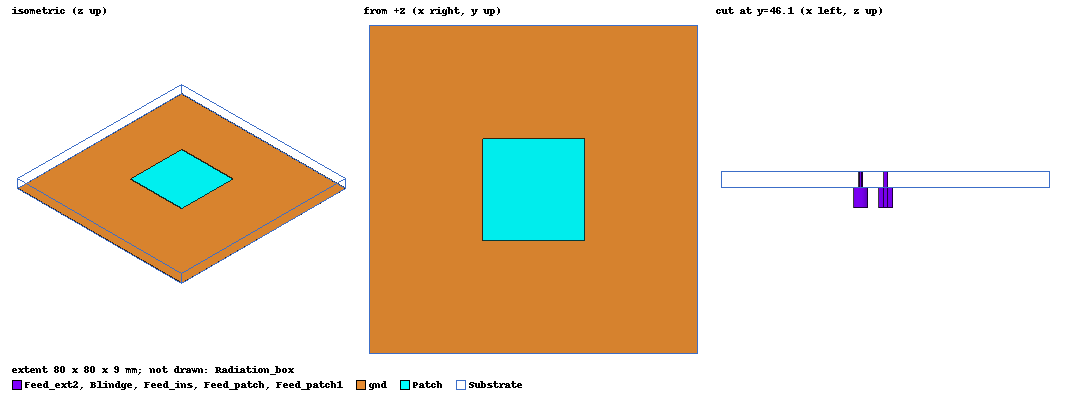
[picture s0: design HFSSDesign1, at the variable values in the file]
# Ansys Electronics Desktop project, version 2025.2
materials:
  vacuum: permittivity=1
  air: permittivity=1.0006 permeability=1.0000004
  perfect conductor: conductivity=1e+30
  copper: permeability=0.999991 conductivity=58000000
  FR4_epoxy: permittivity=4.4 dielectric_loss_tangent=0.02
  pec: conductivity=1e+30
  Teflon (tm): permittivity=2.1 dielectric_loss_tangent=0.001

design HFSSDesign1 (HFSS, HFSS Modal Network, model units mm)
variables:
  gnl = 80mm
  gnw = 80mm
  h = 4mm
  pl = 25mm
  pw = 25mm
  a = Patch_pos_x+pw/2
  r1 = 1.8mm
  r2 = 1.67mm
  r3 = 0.5mm
  dummy = a +offset
  offset = 6.1mm
  Patch_pos_x = gnw/2 - pw/2
  Patch_pos_y = gnl/2 - pl/2
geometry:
  gnd = rectangle(corner=(0mm, 0mm, 0mm), x_size=gnl, y_size=gnw)
  Substrate [air] = box(corner=(0mm, 0mm, 0mm), size=(gnl, gnw, h))
  Patch = rectangle(corner=(Patch_pos_x, Patch_pos_y, h), x_size=pl, y_size=pw)
  Gnd_cut = circle(normal=Z, centre=(a, dummy, 0mm), radius=r1)
  Blindge [Teflon (tm)] = cylinder(axis=Z, base_centre=(a, dummy, 0mm), radius=r2, height=-5mm)
  Feed_ext1 [pec] = cylinder(axis=Z, base_centre=(a, dummy, 0mm), radius=r1, height=-5mm)
  Feed_ins [pec] = cylinder(axis=Z, base_centre=(a, dummy, 0mm), radius=r3, height=-5mm)
  Feed_patch [pec] = cylinder(axis=Z, base_centre=(a, dummy, 0mm), radius=r3, height=h)
  gnd.subtract(Gnd_cut)
  port = circle(normal=Z, centre=(a, dummy, -5mm), radius=r1)
  Radiation_box [vacuum] = box(corner=(-20mm, -20mm, -20mm), size=(120mm, 120mm, 60mm))
  Blindge1 [Teflon (tm)] = cylinder(axis=Z, base_centre=(dummy, a, 0mm), radius=r2, height=-5mm)
  Feed_ext2 [pec] = cylinder(axis=Z, base_centre=(dummy, a, 0mm), radius=r1, height=-5mm)
  Feed_ins1 [pec] = cylinder(axis=Z, base_centre=(dummy, a, 0mm), radius=r3, height=-5mm)
  Feed_patch1 [pec] = cylinder(axis=Z, base_centre=(dummy, a, 0mm), radius=r3, height=h)
  port1 = circle(normal=Z, centre=(dummy, a, -5mm), radius=r1)
  Gnd_cut1 = circle(normal=Z, centre=(dummy, a, 0mm), radius=r1)
  gnd.subtract(Gnd_cut1)
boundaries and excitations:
  PerfE1: Perfect E Objects=gnd
  patch: Perfect E Objects=Patch
  Rad1: Radiation Objects=Radiation_box
  1: Lumped Port Objects=port LumpedPortType=Default Modes{Mode1{IntLine{(40, 46.1, -5) -> (40000mm, 47770mm, -5000mm)} CharImp=Zpi}} Impedance=50ohm
  2: Lumped Port Objects=port1 LumpedPortType=Default Modes{Mode1{IntLine{(46.1, 40, -5) -> (47.77, 40, -5)} CharImp=Zpi}} Impedance=50ohm
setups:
  Setup1: HfssDriven Frequency=5.3GHz MaxDeltaS=0.02 MaximumPasses=20 MinimumPasses=1 MinimumConvergedPasses=1 PercentRefinement=30 BasisOrder=1 PortAccuracy=2 DrivenSolverType="Direct Solver"
    sweep Sweep: 5.1GHz to 5.6GHz, 100 points; Type=Fast SaveFields
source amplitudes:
  1:1: 1W 0deg
  2:1: 1W 90deg
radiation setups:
  Infinite Sphere1: Infinite Sphere Theta=-180deg..180deg step 5deg Phi=0deg..360deg step 5deg
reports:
  Axial Ratio Plot1: dB(AxialRatioValue) vs Freq on Setup1 : Sweep, Infinite Sphere1 [Phi=0deg Theta=0deg]; markers m1 at 5.3020202GHz
